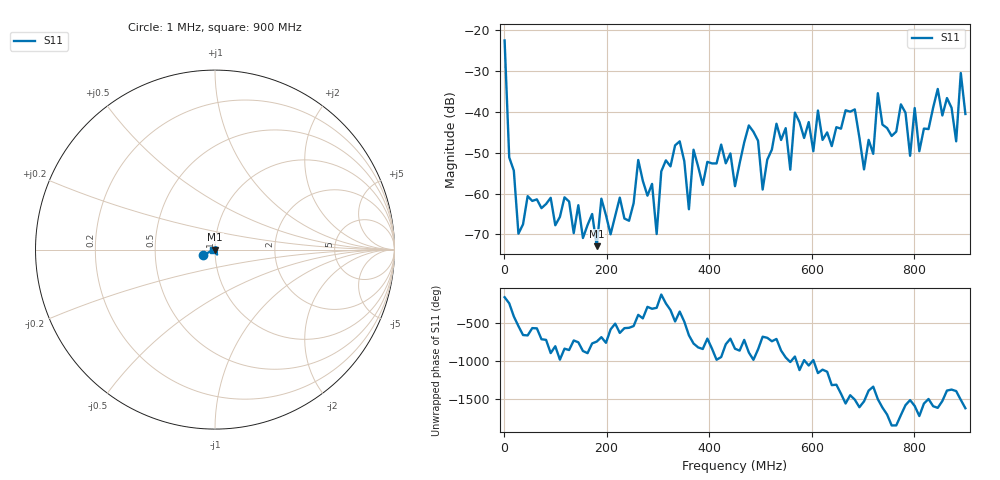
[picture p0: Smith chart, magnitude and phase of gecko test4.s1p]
! File created by NanoVNA (https://gen111.taobao.com/)
! Start 1000000Hz  Stop 899999800Hz  Points 101
# HZ S MA R 50
!S - Parameter data, F S11
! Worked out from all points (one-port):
!   101 points, 1 MHz to 900 MHz, reference 50 ohm
!   lowest |S11| = -72.9 dB at 180.8 MHz (marker M1), VSWR 1.00, Z = 50 - j0.00738 ohm
!   |S11| at or under -10 dB: start of sweep to end of sweep
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1000000  0.07534 -154.5
9989900  0.002772 125.5
2.79699e7  0.0003217 -175.1
1.178699e8  0.0008977 -112.5
1.807999e8  0.0002261 -19.0
1.897899e8  0.0008643 39.2
2.347399e8  0.0004936 157.7
2.617099e8  0.002579 -27.0
2.976699e8  0.0003187 65.8
3.066599e8  0.001869 -119.3
3.426199e8  0.004363 16.4
3.605999e8  0.0006409 63.3
3.695899e8  0.003445 -44.5
4.504999e8  0.00123 -113.3
4.774698e8  0.006833 -162.8
5.044398e8  0.001118 45.3
5.314098e8  0.007172 15.6
5.583798e8  0.00196 71.4
5.673698e8  0.009821 143.8
6.033298e8  0.0033 97.5
6.842398e8  0.01075 -64.6
7.022198e8  0.001976 -86.9
7.291898e8  0.017 -58.3
7.921198e8  0.0029 -70.2
8.460598e8  0.01916 -172.6
8.820198e8  0.004369 48.7
8.910098e8  0.03004 -67.0
8.999998e8  0.009447 -177.5
